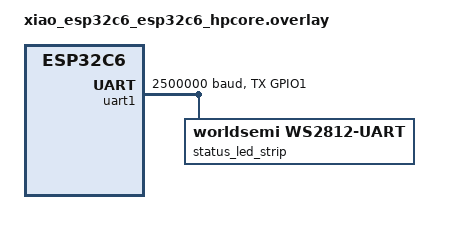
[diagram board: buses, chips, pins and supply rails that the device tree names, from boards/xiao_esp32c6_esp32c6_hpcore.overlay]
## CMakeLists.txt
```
# SPDX-License-Identifier: MIT

cmake_minimum_required(VERSION 3.20.0)

find_package(Zephyr REQUIRED HINTS $ENV{ZEPHYR_BASE})
project(mr60bha2_console_zephyr VERSION 0.1.0 LANGUAGES C CXX)

set_source_files_properties(src/net_services.c PROPERTIES LANGUAGE CXX)

target_include_directories(app PRIVATE
  src
  drivers/mr60bha2
)

target_sources(app PRIVATE
  src/main.c
  src/app_state.c
  src/led_control.c
  src/ota_control.c
  src/json_stream.c
  src/net_services.c
  drivers/mr60bha2/mr60bha2.c
  drivers/mr60bha2/mr60bha2_parser.c
)
```

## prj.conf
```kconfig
# Core console and runtime support.
CONFIG_SERIAL=y
CONFIG_CONSOLE=y
CONFIG_UART_CONSOLE=y
CONFIG_PRINTK=y
CONFIG_THREAD_NAME=y
CONFIG_ASSERT=y
CONFIG_BOOTLOADER_MCUBOOT=y
CONFIG_FLASH=y
CONFIG_FLASH_MAP=y
CONFIG_STREAM_FLASH=y
CONFIG_IMG_MANAGER=y
CONFIG_IMG_BLOCK_BUF_SIZE=512
CONFIG_MCUBOOT_BOOTUTIL_LIB=y
CONFIG_REBOOT=y

# Networking and Wi-Fi AP support.
CONFIG_NETWORKING=y
CONFIG_NET_IPV4=y
CONFIG_NET_TCP=y
CONFIG_NET_UDP=y
CONFIG_NET_SOCKETS=y
CONFIG_NET_SOCKETS_SERVICE=y
CONFIG_NET_SOCKETS_SERVICE_STACK_SIZE=4096
CONFIG_NET_CONFIG_SETTINGS=y
CONFIG_NET_CONFIG_AUTO_INIT=n
CONFIG_NET_CONFIG_NEED_IPV4=y
CONFIG_NET_CONFIG_MY_IPV4_ADDR="192.168.4.1"
CONFIG_NET_CONFIG_MY_IPV4_NETMASK="255.255.255.0"
CONFIG_NET_CONFIG_MY_IPV4_GW="192.168.4.1"
CONFIG_NET_DHCPV4=y
CONFIG_NET_DHCPV4_SERVER=y
CONFIG_NET_L2_WIFI_MGMT=y
CONFIG_WIFI=y
CONFIG_WIFI_NM=y
CONFIG_WIFI_USAGE_MODE_STA_AP=y
CONFIG_NET_MGMT=y
CONFIG_NET_MGMT_EVENT=y
CONFIG_NET_MGMT_EVENT_INFO=y
CONFIG_NET_MGMT_EVENT_QUEUE_SIZE=10
CONFIG_NET_MGMT_EVENT_STACK_SIZE=4096
CONFIG_NET_PKT_RX_COUNT=32
CONFIG_NET_PKT_TX_COUNT=32

# Floating point formatting is required for the JSON sample stream.
CONFIG_CBPRINTF_FP_SUPPORT=y

# Keep memory allocation out of the first firmware slice.
CONFIG_HEAP_MEM_POOL_SIZE=0

# Stack sizing for bounded producer/consumer threads.
CONFIG_MAIN_STACK_SIZE=2048
CONFIG_SYSTEM_WORKQUEUE_STACK_SIZE=2048

# Logging stays available for future hardware bring-up, but the initial data
# path uses printk JSON Lines so host tools can consume a clean stream.
CONFIG_LOG=y
CONFIG_LOG_DEFAULT_LEVEL=3

# HTTP server for dashboard and REST endpoints.
CONFIG_JSON_LIBRARY=y
CONFIG_HTTP_SERVER=y
CONFIG_HTTP_PARSER=y
CONFIG_HTTP_PARSER_URL=y
CONFIG_HTTP_SERVER_STACK_SIZE=8192
CONFIG_HTTP_SERVER_MAX_CLIENTS=2
CONFIG_HTTP_SERVER_RESOURCE_WILDCARD=y

# WS2812 status LED on GPIO1 via UART1.
CONFIG_LED_STRIP=y
CONFIG_WS2812_STRIP_UART=y
CONFIG_UART_ASYNC_API=y
```

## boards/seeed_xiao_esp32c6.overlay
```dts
/*
 * SPDX-License-Identifier: MIT
 *
 * Wiring contract preserved from the Arduino quicksetup:
 * - MR60BHA2 UART RX: GPIO17
 * - MR60BHA2 UART TX: GPIO16
 * - WS2812 RGB LED: GPIO1
 * - BH1750 I2C SDA: GPIO22
 * - BH1750 I2C SCL: GPIO23
 *
 * The first Zephyr milestone uses USB serial JSON output only. Pin mux and
 * peripheral aliases should be enabled here during the hardware bring-up pass
 * after the board target is confirmed in the local Zephyr checkout.
 */
```

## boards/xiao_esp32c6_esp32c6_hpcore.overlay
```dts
/*
 * SPDX-License-Identifier: MIT
 *
 * Wiring contract preserved from the Arduino quicksetup:
 * - MR60BHA2 UART RX: GPIO17
 * - MR60BHA2 UART TX: GPIO16
 * - WS2812 RGB LED: GPIO1
 * - BH1750 I2C SDA: GPIO22
 * - BH1750 I2C SCL: GPIO23
 */

#include <zephyr/dt-bindings/led/led.h>
#include <zephyr/dt-bindings/pinctrl/esp32c6-pinctrl.h>

/ {
	aliases {
		led-strip = &status_led_strip;
	};
};

&pinctrl {
	uart1_default: uart1_default {
		group1 {
			pinmux = <UART1_TX_GPIO1>;
			output-low;
		};
	};
};

&uart1 {
	status = "okay";
	current-speed = <2500000>;
	data-bits = <7>;
	tx-invert;
	pinctrl-0 = <&uart1_default>;
	pinctrl-names = "default";

	status_led_strip: ws2812-strip {
		compatible = "worldsemi,ws2812-uart";
		status = "okay";
		one-symbol = <6>;
		zero-symbol = <4>;
		bits-per-symbol = <3>;
		chain-length = <1>;
		reset-delay = <50>;
		color-mapping = <LED_COLOR_ID_GREEN
				 LED_COLOR_ID_RED
				 LED_COLOR_ID_BLUE>;
	};
};
```

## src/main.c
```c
/* SPDX-License-Identifier: MIT */

#include <zephyr/kernel.h>
#include <zephyr/drivers/uart.h>
#include <zephyr/sys/printk.h>

#include "app_state.h"
#include "led_control.h"
#include "ota_control.h"
#include "json_stream.h"
#include "net_services.h"
#include "mr60bha2.h"

#define UART_POLL_SLEEP_MS 5
#define SERIAL_PERIOD_MS 1000
#define RADAR_THREAD_STACK_SIZE 2048
#define SERIAL_THREAD_STACK_SIZE 4096
#define RADAR_THREAD_PRIORITY 5
#define SERIAL_THREAD_PRIORITY 7

static struct mr60bha2_device radar;
static const struct device *radar_uart;

static void radar_thread(void *unused_a, void *unused_b, void *unused_c)
{
	ARG_UNUSED(unused_a);
	ARG_UNUSED(unused_b);
	ARG_UNUSED(unused_c);

	while (true) {
		uint8_t byte;

		while (uart_poll_in(radar_uart, &byte) == 0) {
			const enum mr60bha2_parse_result result = mr60bha2_process_byte(&radar, byte);

			if (result == MR60BHA2_PARSE_FRAME_READY) {
				struct mr60bha2_snapshot snapshot;
				struct vislog_sample sample;

				mr60bha2_snapshot_take(&radar, &snapshot);
				vislog_app_state_apply_radar_snapshot(&snapshot);
				vislog_app_state_copy(&sample);
				vislog_led_update_from_sample(&sample);
				vislog_ota_confirm_running_image();
			}
		}

		k_sleep(K_MSEC(UART_POLL_SLEEP_MS));
	}
}

static void serial_thread(void *unused_a, void *unused_b, void *unused_c)
{
	ARG_UNUSED(unused_a);
	ARG_UNUSED(unused_b);
	ARG_UNUSED(unused_c);

	struct vislog_sample sample;

	while (true) {
		vislog_app_state_copy(&sample);
		vislog_print_sample_json(&sample);
		k_sleep(K_MSEC(SERIAL_PERIOD_MS));
	}
}

K_THREAD_STACK_DEFINE(radar_thread_stack, RADAR_THREAD_STACK_SIZE);
K_THREAD_STACK_DEFINE(serial_thread_stack, SERIAL_THREAD_STACK_SIZE);

static struct k_thread radar_thread_data;
static struct k_thread serial_thread_data;

int main(void)
{
	vislog_app_state_init();
	vislog_led_init();
	vislog_ota_init();
	mr60bha2_init(&radar);
	radar_uart = DEVICE_DT_GET(DT_NODELABEL(uart0));

	if (!device_is_ready(radar_uart)) {
		printk("{\"type\":\"error\",\"message\":\"radar uart not ready\"}\n");
		return 0;
	}

	printk("{\"type\":\"boot\",\"app\":\"mr60bha2_console\",\"runtime\":\"zephyr\"}\n");

	vislog_net_services_init();

	k_thread_create(&radar_thread_data, radar_thread_stack,
			K_THREAD_STACK_SIZEOF(radar_thread_stack),
			radar_thread, NULL, NULL, NULL,
			RADAR_THREAD_PRIORITY, 0, K_NO_WAIT);
	k_thread_name_set(&radar_thread_data, "vislog_radar");

	k_thread_create(&serial_thread_data, serial_thread_stack,
			K_THREAD_STACK_SIZEOF(serial_thread_stack),
			serial_thread, NULL, NULL, NULL,
			SERIAL_THREAD_PRIORITY, 0, K_NO_WAIT);
	k_thread_name_set(&serial_thread_data, "vislog_serial");

	while (true) {
		k_sleep(K_SECONDS(60));
	}
}
```

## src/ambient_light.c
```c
/* SPDX-License-Identifier: MIT */

#include "ambient_light.h"

#include <math.h>

#include <zephyr/device.h>
#include <zephyr/drivers/sensor.h>
#include <zephyr/kernel.h>
#include <zephyr/logging/log.h>

#include "app_state.h"

LOG_MODULE_REGISTER(vislog_light, LOG_LEVEL_INF);

#define AMBIENT_LIGHT_UPDATE_INTERVAL_MS 250U

static const struct device *const bh1750 = DEVICE_DT_GET(DT_NODELABEL(bh1750));
static uint32_t last_light_ms;
static bool light_ready;

static float sensor_value_to_lux(const struct sensor_value *value)
{
	if (value == NULL) {
		return NAN;
	}

	return (float)value->val1 + ((float)value->val2 / 1000000.0f);
}

void vislog_ambient_light_init(void)
{
	struct sensor_value value;
	int ret;

	last_light_ms = 0U;
	light_ready = false;
	vislog_app_state_set_light(NAN, false);

	if (!device_is_ready(bh1750)) {
		LOG_WRN("BH1750 device not ready");
		return;
	}

	ret = sensor_sample_fetch(bh1750);
	if (ret != 0) {
		LOG_WRN("BH1750 probe failed: %d", ret);
		return;
	}

	ret = sensor_channel_get(bh1750, SENSOR_CHAN_LIGHT, &value);
	if (ret != 0) {
		LOG_WRN("BH1750 read failed during init: %d", ret);
		return;
	}

	light_ready = true;
	last_light_ms = k_uptime_get_32();
	vislog_app_state_set_light(sensor_value_to_lux(&value), true);
	LOG_INF("BH1750 ready");
}

void vislog_ambient_light_poll(void)
{
	struct sensor_value value;
	const uint32_t now = k_uptime_get_32();
	int ret;

	if (!light_ready) {
		return;
	}

	if ((uint32_t)(now - last_light_ms) < AMBIENT_LIGHT_UPDATE_INTERVAL_MS) {
		return;
	}

	last_light_ms = now;
	ret = sensor_sample_fetch(bh1750);
	if (ret != 0) {
		LOG_WRN("BH1750 sample fetch failed: %d", ret);
		return;
	}

	ret = sensor_channel_get(bh1750, SENSOR_CHAN_LIGHT, &value);
	if (ret != 0) {
		LOG_WRN("BH1750 channel read failed: %d", ret);
		return;
	}

	vislog_app_state_set_light(sensor_value_to_lux(&value), true);
}
```

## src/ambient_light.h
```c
/* SPDX-License-Identifier: MIT */

#ifndef VISLOG_AMBIENT_LIGHT_H
#define VISLOG_AMBIENT_LIGHT_H

#ifdef __cplusplus
extern "C" {
#endif

void vislog_ambient_light_init(void);
void vislog_ambient_light_poll(void);

#ifdef __cplusplus
}
#endif

#endif
```

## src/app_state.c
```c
/* SPDX-License-Identifier: MIT */

#include "app_state.h"

#include <math.h>
#include <stdio.h>
#include <string.h>
#include <zephyr/kernel.h>
#include <zephyr/sys/util.h>

#define VISLOG_FW_VERSION "2.2.1"
#define VISLOG_FW_LABEL "Zephyr "

static struct vislog_sample latest;
static struct k_mutex latest_lock;

static void copy_string(char *dst, size_t dst_len, const char *src)
{
	if (dst_len == 0) {
		return;
	}

	(void)snprintf(dst, dst_len, "%s", src);
}

static void set_default_sample(struct vislog_sample *sample)
{
	memset(sample, 0, sizeof(*sample));

	sample->heart_rate = NAN;
	sample->breath_rate = NAN;
	sample->distance = NAN;
	sample->raw_distance = NAN;
	sample->total_phase = NAN;
	sample->breath_phase = NAN;
	sample->heart_phase = NAN;
	sample->target_x = NAN;
	sample->target_y = NAN;
	sample->target_distance = NAN;
	sample->target_angle = NAN;
	sample->target_speed = NAN;
	sample->light = NAN;
	sample->last_presence_ms = 0;
	sample->last_target_ms = 0;
	sample->last_firmware_ms = 0;

	for (size_t i = 0; i < ARRAY_SIZE(sample->targets); i++) {
		sample->targets[i].x = NAN;
		sample->targets[i].y = NAN;
		sample->targets[i].distance = NAN;
		sample->targets[i].angle = NAN;
		sample->targets[i].speed = NAN;
	}

	copy_string(sample->presence_source, sizeof(sample->presence_source), "waiting");
	copy_string(sample->target_source, sizeof(sample->target_source), "waiting");
	(void)snprintf(sample->console_fw, sizeof(sample->console_fw), "%s%s",
		       VISLOG_FW_LABEL, VISLOG_FW_VERSION);
}

void vislog_app_state_init(void)
{
	k_mutex_init(&latest_lock);
	set_default_sample(&latest);
}

static void clear_target_fields(struct vislog_sample *sample)
{
	sample->target_valid = false;
	sample->target_count = 0;
	sample->target_x = NAN;
	sample->target_y = NAN;
	sample->target_distance = NAN;
	sample->target_angle = NAN;
	sample->target_speed = NAN;

	for (size_t i = 0; i < ARRAY_SIZE(sample->targets); i++) {
		sample->targets[i].valid = false;
		sample->targets[i].x = NAN;
		sample->targets[i].y = NAN;
		sample->targets[i].distance = NAN;
		sample->targets[i].angle = NAN;
		sample->targets[i].speed = NAN;
		sample->targets[i].dop_index = 0;
		sample->targets[i].cluster_index = 0;
	}
}

void vislog_app_state_apply_radar_snapshot(const struct mr60bha2_snapshot *snapshot)
{
	k_mutex_lock(&latest_lock, K_FOREVER);

	latest.frame++;
	latest.uptime_ms = (uint32_t)k_uptime_get();
	latest.last_radar_ms = latest.uptime_ms;

	if (snapshot != NULL) {
		if (isfinite(snapshot->heart_rate)) {
			latest.heart_rate = snapshot->heart_rate;
		}
		if (isfinite(snapshot->breath_rate)) {
			latest.breath_rate = snapshot->breath_rate;
		}
		if (isfinite(snapshot->distance)) {
			latest.distance = snapshot->distance;
		}
		if (isfinite(snapshot->raw_distance)) {
			latest.raw_distance = snapshot->raw_distance;
		}
		if (isfinite(snapshot->total_phase)) {
			latest.total_phase = snapshot->total_phase;
		}
		if (isfinite(snapshot->breath_phase)) {
			latest.breath_phase = snapshot->breath_phase;
		}
		if (isfinite(snapshot->heart_phase)) {
			latest.heart_phase = snapshot->heart_phase;
		}
		if (snapshot->presence_valid) {
			latest.presence = snapshot->presence;
			latest.presence_valid = true;
			latest.last_presence_ms = latest.uptime_ms;
			copy_string(latest.presence_source, sizeof(latest.presence_source), snapshot->presence_source);
		}
		if (snapshot->target_valid) {
			latest.target_valid = true;
			latest.last_target_ms = latest.uptime_ms;
			latest.target_count = snapshot->target_count;
			copy_string(latest.target_source, sizeof(latest.target_source), snapshot->target_source);

			for (size_t i = 0; i < ARRAY_SIZE(latest.targets); i++) {
				latest.targets[i].valid = false;
				latest.targets[i].x = NAN;
				latest.targets[i].y = NAN;
				latest.targets[i].distance = NAN;
				latest.targets[i].angle = NAN;
				latest.targets[i].speed = NAN;
				latest.targets[i].dop_index = 0;
				latest.targets[i].cluster_index = 0;
			}

			for (size_t i = 0; i < latest.target_count && i < ARRAY_SIZE(latest.targets); i++) {
				latest.targets[i].valid = snapshot->targets[i].valid;
				latest.targets[i].x = snapshot->targets[i].x;
				latest.targets[i].y = snapshot->targets[i].y;
				latest.targets[i].distance = snapshot->targets[i].distance;
				latest.targets[i].angle = snapshot->targets[i].angle;
				latest.targets[i].speed = snapshot->targets[i].speed;
				latest.targets[i].dop_index = snapshot->targets[i].dop_index;
				latest.targets[i].cluster_index = snapshot->targets[i].cluster_index;
			}
			if (latest.target_count > 0 && latest.targets[0].valid) {
				latest.target_x = latest.targets[0].x;
				latest.target_y = latest.targets[0].y;
				latest.target_distance = latest.targets[0].distance;
				latest.target_angle = latest.targets[0].angle;
				latest.target_speed = latest.targets[0].speed;
			}
		}
		if (snapshot->firmware_valid) {
			latest.firmware_valid = true;
			latest.last_firmware_ms = latest.uptime_ms;
			latest.firmware_raw = snapshot->firmware_raw;
			latest.firmware_project = snapshot->firmware_project;
			latest.firmware_major = snapshot->firmware_major;
			latest.firmware_sub = snapshot->firmware_sub;
			latest.firmware_modified = snapshot->firmware_modified;
		}
	}

	if (latest.presence_valid && latest.last_presence_ms &&
	    latest.uptime_ms - latest.last_presence_ms > 1200U) {
		latest.presence = false;
		latest.presence_valid = false;
		copy_string(latest.presence_source, sizeof(latest.presence_source), "waiting");
	}
	if (latest.target_valid && latest.last_target_ms &&
	    latest.uptime_ms - latest.last_target_ms > 1500U) {
		clear_target_fields(&latest);
		copy_string(latest.target_source, sizeof(latest.target_source), "stale");
	}
	(void)snprintf(latest.console_fw, sizeof(latest.console_fw), "%s%s",
		       VISLOG_FW_LABEL, VISLOG_FW_VERSION);

	k_mutex_unlock(&latest_lock);
}

void vislog_app_state_copy(struct vislog_sample *out)
{
	k_mutex_lock(&latest_lock, K_FOREVER);
	*out = latest;
	k_mutex_unlock(&latest_lock);
}

void vislog_app_state_set_light(float light_lux, bool ready)
{
	k_mutex_lock(&latest_lock, K_FOREVER);
	latest.light = light_lux;
	latest.light_ready = ready;
	k_mutex_unlock(&latest_lock);
}

void vislog_app_state_set_led_rgb(uint8_t r, uint8_t g, uint8_t b)
{
	k_mutex_lock(&latest_lock, K_FOREVER);
	latest.led_r = r;
	latest.led_g = g;
	latest.led_b = b;
	k_mutex_unlock(&latest_lock);
}
```

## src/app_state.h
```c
/* SPDX-License-Identifier: MIT */

#ifndef VISLOG_APP_STATE_H
#define VISLOG_APP_STATE_H

#include <stdbool.h>
#include <stddef.h>
#include <stdint.h>

#include "../drivers/mr60bha2/mr60bha2.h"

#ifdef __cplusplus
extern "C" {
#endif

#define VISLOG_MAX_TARGETS 3
#define VISLOG_SOURCE_LEN 16
#define VISLOG_FW_LEN 20

struct vislog_target {
	bool valid;
	float x;
	float y;
	float distance;
	float angle;
	float speed;
	int32_t dop_index;
	int32_t cluster_index;
};

struct vislog_sample {
	float heart_rate;
	float breath_rate;
	float distance;
	float raw_distance;
	float total_phase;
	float breath_phase;
	float heart_phase;
	bool presence;
	bool presence_valid;
	char presence_source[VISLOG_SOURCE_LEN];
	bool target_valid;
	char target_source[VISLOG_SOURCE_LEN];
	uint8_t target_count;
	float target_x;
	float target_y;
	float target_distance;
	float target_angle;
	float target_speed;
	struct vislog_target targets[VISLOG_MAX_TARGETS];
	float light;
	bool light_ready;
	char console_fw[VISLOG_FW_LEN];
	bool firmware_valid;
	uint32_t firmware_raw;
	uint8_t firmware_project;
	uint8_t firmware_major;
	uint8_t firmware_sub;
	uint8_t firmware_modified;
	uint8_t led_r;
	uint8_t led_g;
	uint8_t led_b;
	uint32_t frame;
	uint32_t last_radar_ms;
	uint32_t last_presence_ms;
	uint32_t last_target_ms;
	uint32_t last_firmware_ms;
	uint32_t uptime_ms;
};

void vislog_app_state_init(void);
void vislog_app_state_apply_radar_snapshot(const struct mr60bha2_snapshot *snapshot);
void vislog_app_state_copy(struct vislog_sample *out);
void vislog_app_state_set_led_rgb(uint8_t r, uint8_t g, uint8_t b);

#ifdef __cplusplus
}
#endif

#endif
```

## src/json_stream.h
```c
/* SPDX-License-Identifier: MIT */

#ifndef VISLOG_JSON_STREAM_H
#define VISLOG_JSON_STREAM_H

#include <stddef.h>

#include "app_state.h"

#define VISLOG_JSON_LINE_MAX 1536

int vislog_sample_to_json(const struct vislog_sample *sample, char *buf, size_t len);
void vislog_print_sample_json(const struct vislog_sample *sample);

#endif
```

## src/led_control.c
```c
/* SPDX-License-Identifier: MIT */

#include "led_control.h"

#include <math.h>
#include <errno.h>
#include <stdbool.h>
#include <stdio.h>
#include <stdlib.h>
#include <string.h>

#include <zephyr/device.h>
#include <zephyr/drivers/led_strip.h>
#include <zephyr/kernel.h>
#include <zephyr/logging/log.h>
#include <zephyr/sys/util.h>

LOG_MODULE_REGISTER(vislog_led, LOG_LEVEL_INF);

#define LED_BRIGHTNESS_DEFAULT 0.35f
#define LED_BOOT_FLASH_MS 80

enum vislog_led_mode {
	VISLOG_LED_OFF,
	VISLOG_LED_SOLID,
	VISLOG_LED_PULSE,
	VISLOG_LED_RULE,
};

struct vislog_led_config {
	enum vislog_led_mode mode;
	float brightness;
	uint8_t r;
	uint8_t g;
	uint8_t b;
	char metric[24];
	float low;
	float high;
	uint8_t low_r;
	uint8_t low_g;
	uint8_t low_b;
	uint8_t ok_r;
	uint8_t ok_g;
	uint8_t ok_b;
	uint8_t high_r;
	uint8_t high_g;
	uint8_t high_b;
};

static const struct device *const led_strip = DEVICE_DT_GET(DT_ALIAS(led_strip));
static struct k_mutex led_lock;
static struct vislog_led_config led_config;
static struct vislog_sample led_sample;
static bool led_ready;
static bool led_sample_valid;

static uint8_t scale_channel(uint8_t channel, float brightness)
{
	brightness = fmaxf(0.0f, fminf(brightness, 1.0f));
	float scaled = channel * brightness;
	if (scaled <= 0.0f) {
		return 0U;
	}
	if (scaled >= 255.0f) {
		return 255U;
	}
	return (uint8_t)(scaled + 0.5f);
}

static void led_rgb_apply(uint8_t r, uint8_t g, uint8_t b)
{
	struct led_rgb pixel = {
		.r = r,
		.g = g,
		.b = b,
	};

	vislog_app_state_set_led_rgb(r, g, b);

	if (!led_ready) {
		return;
	}

	struct led_rgb pixels[1] = { pixel };
	int ret = led_strip_update_rgb(led_strip, pixels, 1);
	if (ret != 0) {
		LOG_WRN("LED update failed: %d", ret);
	}
}

static float sample_metric_value(const struct vislog_sample *sample, const char *metric)
{
	if (sample == NULL || metric == NULL) {
		return NAN;
	}

	if (strcmp(metric, "heart_rate") == 0) {
		return sample->heart_rate;
	}
	if (strcmp(metric, "breath_rate") == 0) {
		return sample->breath_rate;
	}
	if (strcmp(metric, "distance") == 0) {
		return sample->distance;
	}
	if (strcmp(metric, "raw_distance") == 0) {
		return sample->raw_distance;
	}
	if (strcmp(metric, "presence") == 0) {
		return sample->presence_valid ? (sample->presence ? 1.0f : 0.0f) : NAN;
	}
	if (strcmp(metric, "people_count") == 0) {
		return sample->target_valid ? (float)sample->target_count : NAN;
	}
	if (strcmp(metric, "target_x") == 0) {
		return sample->target_x;
	}
	if (strcmp(metric, "target_y") == 0) {
		return sample->target_y;
	}
	if (strcmp(metric, "target_angle") == 0) {
		return sample->target_angle;
	}
	if (strcmp(metric, "target_speed") == 0) {
		return sample->target_speed;
	}
	if (strcmp(metric, "light") == 0) {
		return sample->light;
	}
	if (strcmp(metric, "total_phase") == 0) {
		return sample->total_phase;
	}
	if (strcmp(metric, "breath_phase") == 0) {
		return sample->breath_phase;
	}
	if (strcmp(metric, "heart_phase") == 0) {
		return sample->heart_phase;
	}

	return NAN;
}

static void parse_string_field(const char *body, const char *key, char *out, size_t out_len)
{
	const char *match;
	const char *value;
	const char *end;
	size_t len;

	if (body == NULL || key == NULL || out == NULL || out_len == 0) {
		return;
	}

	match = strstr(body, key);
	if (match == NULL) {
		return;
	}

	value = strchr(match, ':');
	if (value == NULL) {
		return;
	}
	value++;
	while (*value == ' ' || *value == '\t' || *value == '\n' || *value == '\r') {
		value++;
	}
	if (*value == '"') {
		value++;
	}
	end = value;
	while (*end != '\0' && *end != '"' && *end != ',' && *end != '}') {
		end++;
	}
	len = (size_t)(end - value);
	if (len >= out_len) {
		len = out_len - 1;
	}
	memcpy(out, value, len);
	out[len] = '\0';
}

static bool parse_float_field(const char *body, const char *key, float *out)
{
	const char *match;
	const char *value;

	if (body == NULL || key == NULL || out == NULL) {
		return false;
	}

	match = strstr(body, key);
	if (match == NULL) {
		return false;
	}

	value = strchr(match, ':');
	if (value == NULL) {
		return false;
	}

	*out = strtof(value + 1, NULL);
	return true;
}

static bool parse_int_field(const char *body, const char *key, int *out)
{
	float value;

	if (!parse_float_field(body, key, &value)) {
		return false;
	}
	*out = (int)value;
	return true;
}

static void render_locked(void)
{
	uint8_t out_r = 0;
	uint8_t out_g = 0;
	uint8_t out_b = 0;
	float brightness = led_config.brightness;
	const struct vislog_sample *sample = led_sample_valid ? &led_sample : NULL;

	switch (led_config.mode) {
	case VISLOG_LED_OFF:
		break;
	case VISLOG_LED_PULSE: {
		float wave = (sinf((float)k_uptime_get_32() * 0.004f) + 1.0f) * 0.5f;
		brightness *= (0.12f + 0.88f * wave);
		out_r = led_config.r;
		out_g = led_config.g;
		out_b = led_config.b;
		break;
	}
	case VISLOG_LED_RULE: {
		float metric = sample_metric_value(sample, led_config.metric);

		if (!isfinite(metric)) {
			out_r = 20;
			out_g = 20;
			out_b = 20;
		} else if (metric < led_config.low) {
			out_r = led_config.low_r;
			out_g = led_config.low_g;
			out_b = led_config.low_b;
		} else if (metric > led_config.high) {
			out_r = led_config.high_r;
			out_g = led_config.high_g;
			out_b = led_config.high_b;
		} else {
			out_r = led_config.ok_r;
			out_g = led_config.ok_g;
			out_b = led_config.ok_b;
		}
		break;
	}
	case VISLOG_LED_SOLID:
	default:
		out_r = led_config.r;
		out_g = led_config.g;
		out_b = led_config.b;
		break;
	}

	led_rgb_apply(scale_channel(out_r, brightness), scale_channel(out_g, brightness),
		      scale_channel(out_b, brightness));
}

void vislog_led_init(void)
{
	k_mutex_init(&led_lock);

	led_config.mode = VISLOG_LED_SOLID;
	led_config.brightness = LED_BRIGHTNESS_DEFAULT;
	led_config.r = 40;
	led_config.g = 190;
	led_config.b = 100;
	strcpy(led_config.metric, "target_speed");
	led_config.low = -0.05f;
	led_config.high = 0.05f;
	led_config.low_r = 255;
	led_config.low_g = 0;
	led_config.low_b = 0;
	led_config.ok_r = 0;
	led_config.ok_g = 0;
	led_config.ok_b = 0;
	led_config.high_r = 0;
	led_config.high_g = 80;
	led_config.high_b = 255;

	led_ready = device_is_ready(led_strip);
	if (!led_ready) {
		LOG_ERR("LED strip device not ready");
		vislog_app_state_set_led_rgb(0, 0, 0);
		return;
	}

	/* Boot indication: render the default solid color immediately. */
	k_mutex_lock(&led_lock, K_FOREVER);
	render_locked();
	k_mutex_unlock(&led_lock);

	k_msleep(LED_BOOT_FLASH_MS);
}

void vislog_led_update_from_sample(const struct vislog_sample *sample)
{
	if (sample == NULL) {
		return;
	}

	k_mutex_lock(&led_lock, K_FOREVER);
	led_sample = *sample;
	led_sample_valid = true;
	render_locked();
	k_mutex_unlock(&led_lock);
}

int vislog_led_apply_json(const char *body)
{
	char mode[16];
	char metric[24];
	int value;

	if (body == NULL) {
		return -EINVAL;
	}

	k_mutex_lock(&led_lock, K_FOREVER);

	strcpy(mode, "solid");
	parse_string_field(body, "\"mode\"", mode, sizeof(mode));
	if (strcmp(mode, "off") == 0) {
		led_config.mode = VISLOG_LED_OFF;
	} else if (strcmp(mode, "pulse") == 0) {
		led_config.mode = VISLOG_LED_PULSE;
	} else if (strcmp(mode, "rule") == 0) {
		led_config.mode = VISLOG_LED_RULE;
	} else {
		led_config.mode = VISLOG_LED_SOLID;
	}

	parse_float_field(body, "\"brightness\"", &led_config.brightness);
	led_config.brightness = fmaxf(0.0f, fminf(led_config.brightness, 1.0f));

	value = led_config.r;
	if (parse_int_field(body, "\"r\"", &value)) {
		led_config.r = CLAMP(value, 0, 255);
	}
	value = led_config.g;
	if (parse_int_field(body, "\"g\"", &value)) {
		led_config.g = CLAMP(value, 0, 255);
	}
	value = led_config.b;
	if (parse_int_field(body, "\"b\"", &value)) {
		led_config.b = CLAMP(value, 0, 255);
	}

	strcpy(metric, led_config.metric);
	parse_string_field(body, "\"metric\"", metric, sizeof(metric));
	strncpy(led_config.metric, metric, sizeof(led_config.metric) - 1);
	led_config.metric[sizeof(led_config.metric) - 1] = '\0';

	parse_float_field(body, "\"low\"", &led_config.low);
	parse_float_field(body, "\"high\"", &led_config.high);
	if (led_config.high < led_config.low) {
		float swap = led_config.low;
		led_config.low = led_config.high;
		led_config.high = swap;
	}

	value = led_config.low_r;
	if (parse_int_field(body, "\"low_r\"", &value)) {
		led_config.low_r = CLAMP(value, 0, 255);
	}
	value = led_config.low_g;
	if (parse_int_field(body, "\"low_g\"", &value)) {
		led_config.low_g = CLAMP(value, 0, 255);
	}
	value = led_config.low_b;
	if (parse_int_field(body, "\"low_b\"", &value)) {
		led_config.low_b = CLAMP(value, 0, 255);
	}

	value = led_config.ok_r;
	if (parse_int_field(body, "\"ok_r\"", &value)) {
		led_config.ok_r = CLAMP(value, 0, 255);
	}
	value = led_config.ok_g;
	if (parse_int_field(body, "\"ok_g\"", &value)) {
		led_config.ok_g = CLAMP(value, 0, 255);
	}
	value = led_config.ok_b;
	if (parse_int_field(body, "\"ok_b\"", &value)) {
		led_config.ok_b = CLAMP(value, 0, 255);
	}

	value = led_config.high_r;
	if (parse_int_field(body, "\"high_r\"", &value)) {
		led_config.high_r = CLAMP(value, 0, 255);
	}
	value = led_config.high_g;
	if (parse_int_field(body, "\"high_g\"", &value)) {
		led_config.high_g = CLAMP(value, 0, 255);
	}
	value = led_config.high_b;
	if (parse_int_field(body, "\"high_b\"", &value)) {
		led_config.high_b = CLAMP(value, 0, 255);
	}

	render_locked();
	k_mutex_unlock(&led_lock);

	return 0;
}
```

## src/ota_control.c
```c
/* SPDX-License-Identifier: MIT */

#include "ota_control.h"

#include <stdbool.h>
#include <stdio.h>
#include <string.h>

#include <zephyr/dfu/flash_img.h>
#include <zephyr/dfu/mcuboot.h>
#include <zephyr/kernel.h>
#include <zephyr/logging/log.h>
#include <zephyr/sys/reboot.h>
#include <zephyr/sys/util.h>

LOG_MODULE_REGISTER(vislog_ota, LOG_LEVEL_INF);

struct vislog_ota_state {
	struct flash_img_context flash;
	bool upload_active;
	bool upgrade_pending;
	bool reboot_pending;
	size_t bytes_written;
	int last_error;
	uint8_t upload_slot;
};

static struct vislog_ota_state ota;
static struct k_mutex ota_lock;
static struct k_work_delayable reboot_work;

static void ota_reset_locked(void)
{
	memset(&ota.flash, 0, sizeof(ota.flash));
	ota.upload_active = false;
	ota.upgrade_pending = false;
	ota.bytes_written = 0;
	ota.last_error = 0;
	ota.upload_slot = flash_img_get_upload_slot();
}

static void reboot_work_handler(struct k_work *work)
{
	ARG_UNUSED(work);

	LOG_INF("Rebooting into pending OTA image");
	sys_reboot(SYS_REBOOT_COLD);
}

static void ota_append_json(char *buf, size_t buf_len)
{
	const bool confirmed = boot_is_img_confirmed();
	const int swap_type = mcuboot_swap_type();

	(void)snprintf(buf, buf_len,
		       "{\"upload_active\":%s,\"upgrade_pending\":%s,"
		       "\"reboot_pending\":%s,\"bytes_written\":%zu,"
		       "\"upload_slot\":%u,\"image_confirmed\":%s,"
		       "\"swap_type\":%d,\"last_error\":%d}",
		       ota.upload_active ? "true" : "false",
		       ota.upgrade_pending ? "true" : "false",
		       ota.reboot_pending ? "true" : "false",
		       ota.bytes_written, ota.upload_slot,
		       confirmed ? "true" : "false", swap_type,
		       ota.last_error);
}

static int ota_start_locked(void)
{
	int ret;

	if (ota.upload_active) {
		return -EBUSY;
	}

	ota.upload_slot = flash_img_get_upload_slot();
	ret = boot_erase_img_bank(ota.upload_slot);
	if (ret != 0) {
		LOG_ERR("Failed to erase OTA slot %u: %d", ota.upload_slot, ret);
		return ret;
	}

	ret = flash_img_init_id(&ota.flash, ota.upload_slot);
	if (ret != 0) {
		LOG_ERR("Failed to init OTA flash context: %d", ret);
		return ret;
	}

	ota.upload_active = true;
	ota.upgrade_pending = false;
	ota.reboot_pending = false;
	ota.bytes_written = 0;
	ota.last_error = 0;

	return 0;
}

static int ota_write_locked(const uint8_t *data, size_t len, bool flush)
{
	int ret;

	if (!ota.upload_active) {
		return -EIO;
	}

	ret = flash_img_buffered_write(&ota.flash, data, len, flush);
	if (ret == 0) {
		ota.bytes_written += len;
	}

	return ret;
}

static int ota_finish_locked(void)
{
	int ret;

	if (!ota.upload_active) {
		return -EIO;
	}

	ret = boot_request_upgrade(BOOT_UPGRADE_TEST);
	if (ret != 0) {
		LOG_ERR("Failed to mark OTA image for test boot: %d", ret);
		ota.last_error = ret;
	} else {
		ota.upgrade_pending = true;
	}

	ota.upload_active = false;
	return ret;
}

void vislog_ota_init(void)
{
	k_mutex_init(&ota_lock);
	k_work_init_delayable(&reboot_work, reboot_work_handler);

	k_mutex_lock(&ota_lock, K_FOREVER);
	ota_reset_locked();
	k_mutex_unlock(&ota_lock);
}

void vislog_ota_confirm_running_image(void)
{
	if (boot_is_img_confirmed()) {
		return;
	}

	if (boot_write_img_confirmed() == 0) {
		LOG_INF("Running OTA image confirmed");
	} else {
		LOG_WRN("Failed to confirm running image");
	}
}

static void set_json_response(struct http_response_ctx *response_ctx, const char *json)
{
	static const struct http_header headers[] = {
		{ .name = "content-type", .value = "application/json" },
		{ .name = "cache-control", .value = "no-store" },
	};

	response_ctx->status = HTTP_200_OK;
	response_ctx->headers = headers;
	response_ctx->header_count = ARRAY_SIZE(headers);
	response_ctx->body = (const uint8_t *)json;
	response_ctx->body_len = strlen(json);
	response_ctx->final_chunk = true;
}

int vislog_ota_handle_http(struct http_client_ctx *client, enum http_transaction_status status,
			   const struct http_request_ctx *request_ctx,
			   struct http_response_ctx *response_ctx)
{
	static char json[256];
	int ret = 0;

	ARG_UNUSED(client);

	if (status == HTTP_SERVER_TRANSACTION_ABORTED) {
		k_mutex_lock(&ota_lock, K_FOREVER);
		ota_reset_locked();
		k_mutex_unlock(&ota_lock);
		return 0;
	}

	if (request_ctx != NULL && request_ctx->data_len > 0 &&
	    (status == HTTP_SERVER_REQUEST_DATA_MORE || status == HTTP_SERVER_REQUEST_DATA_FINAL)) {
		k_mutex_lock(&ota_lock, K_FOREVER);
		if (!ota.upload_active) {
			ret = ota_start_locked();
		}
		if (ret == 0) {
			ret = ota_write_locked(request_ctx->data, request_ctx->data_len,
					       status == HTTP_SERVER_REQUEST_DATA_FINAL);
		}
		if (ret == 0 && status == HTTP_SERVER_REQUEST_DATA_FINAL) {
			ret = ota_finish_locked();
		}
		if (ret != 0) {
			ota.last_error = ret;
			ota.upload_active = false;
		}
		k_mutex_unlock(&ota_lock);

		if (ret != 0) {
			return ret;
		}

		if (status == HTTP_SERVER_REQUEST_DATA_MORE) {
			return 0;
		}
	}

	if (status != HTTP_SERVER_REQUEST_DATA_FINAL) {
		return 0;
	}

	if (request_ctx != NULL && request_ctx->data_len == 0) {
		/* Allow empty GET/POST handlers to fall through to status response. */
	}

	if (request_ctx == NULL || request_ctx->data_len == 0) {
		k_mutex_lock(&ota_lock, K_FOREVER);
		ota_append_json(json, sizeof(json));
		k_mutex_unlock(&ota_lock);
		set_json_response(response_ctx, json);
		return 0;
	}

	k_mutex_lock(&ota_lock, K_FOREVER);
	ota_append_json(json, sizeof(json));
	k_mutex_unlock(&ota_lock);
	set_json_response(response_ctx, json);

	return 0;
}

int vislog_ota_schedule_reboot(void)
{
	int ret = 0;

	k_mutex_lock(&ota_lock, K_FOREVER);
	if (!ota.upgrade_pending) {
		ret = -ENOENT;
	} else if (ota.reboot_pending) {
		ret = -EALREADY;
	} else {
		ota.reboot_pending = true;
		k_work_schedule(&reboot_work, K_MSEC(500));
	}
	k_mutex_unlock(&ota_lock);

	return ret;
}
```
